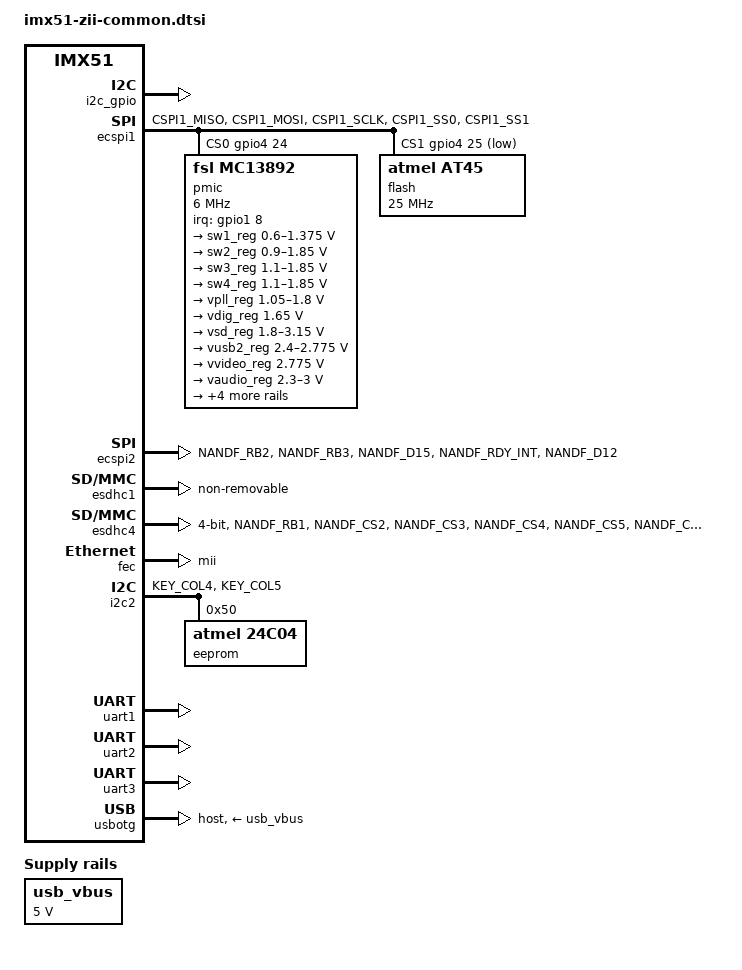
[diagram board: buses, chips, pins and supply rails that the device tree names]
// SPDX-License-Identifier: (GPL-2.0 OR MIT)
// Copyright (C) 2018 Zodiac Inflight Innovations

#include "imx51.dtsi"

/ {
	chosen {
		stdout-path = &uart1;
	};

	/* Will be filled by the bootloader */
	memory@90000000 {
		reg = <0x90000000 0>;
	};

	i2c_gpio: i2c-gpio {
		compatible = "i2c-gpio";
		pinctrl-names = "default";
		pinctrl-0 = <&pinctrl_swi2c>;
		i2c-gpio,delay-us = <50>;
		status = "okay";

		#address-cells = <1>;
		#size-cells = <0>;
	};

	usb_vbus: regulator-usb-vbus {
		compatible = "regulator-fixed";
		regulator-name = "usb_vbus";
		regulator-min-microvolt = <5000000>;
		regulator-max-microvolt = <5000000>;
	};
};

&cpu {
	cpu-supply = <&sw1_reg>;
};

&ecspi1 {
	pinctrl-names = "default";
	pinctrl-0 = <&pinctrl_ecspi1>;
	cs-gpios = <&gpio4 24 GPIO_ACTIVE_HIGH>,
		   <&gpio4 25 GPIO_ACTIVE_LOW>;
	status = "okay";

	pmic@0 {
		compatible = "fsl,mc13892";
		pinctrl-names = "default";
		pinctrl-0 = <&pinctrl_pmic>;
		spi-max-frequency = <6000000>;
		spi-cs-high;
		reg = <0>;
		interrupt-parent = <&gpio1>;
		interrupts = <8 IRQ_TYPE_LEVEL_HIGH>;
		fsl,mc13xxx-uses-adc;

		regulators {
			sw1_reg: sw1 {
				regulator-min-microvolt = <600000>;
				regulator-max-microvolt = <1375000>;
				regulator-boot-on;
				regulator-always-on;
			};

			sw2_reg: sw2 {
				regulator-min-microvolt = <900000>;
				regulator-max-microvolt = <1850000>;
				regulator-boot-on;
				regulator-always-on;
			};

			sw3_reg: sw3 {
				regulator-min-microvolt = <1100000>;
				regulator-max-microvolt = <1850000>;
				regulator-boot-on;
				regulator-always-on;
			};

			sw4_reg: sw4 {
				regulator-min-microvolt = <1100000>;
				regulator-max-microvolt = <1850000>;
				regulator-boot-on;
				regulator-always-on;
			};

			vpll_reg: vpll {
				regulator-min-microvolt = <1050000>;
				regulator-max-microvolt = <1800000>;
				regulator-boot-on;
				regulator-always-on;
			};

			vdig_reg: vdig {
				regulator-min-microvolt = <1650000>;
				regulator-max-microvolt = <1650000>;
				regulator-boot-on;
			};

			vsd_reg: vsd {
				regulator-min-microvolt = <1800000>;
				regulator-max-microvolt = <3150000>;
			};

			vusb_reg: vusb {
				regulator-always-on;
			};

			vusb2_reg: vusb2 {
				regulator-min-microvolt = <2400000>;
				regulator-max-microvolt = <2775000>;
				regulator-boot-on;
				regulator-always-on;
			};

			vvideo_reg: vvideo {
				regulator-min-microvolt = <2775000>;
				regulator-max-microvolt = <2775000>;
			};

			vaudio_reg: vaudio {
				regulator-min-microvolt = <2300000>;
				regulator-max-microvolt = <3000000>;
			};

			vcam_reg: vcam {
				regulator-min-microvolt = <2500000>;
				regulator-max-microvolt = <3000000>;
			};

			vgen1_reg: vgen1 {
				regulator-min-microvolt = <1200000>;
				regulator-max-microvolt = <1200000>;
			};

			vgen2_reg: vgen2 {
				regulator-min-microvolt = <1200000>;
				regulator-max-microvolt = <3150000>;
				regulator-always-on;
			};

			vgen3_reg: vgen3 {
				regulator-min-microvolt = <1800000>;
				regulator-max-microvolt = <2900000>;
				regulator-always-on;
			};
		};

		leds {
			#address-cells = <1>;
			#size-cells = <0>;
			led-control = <0x0 0x0 0x3f83f8 0x0>;

			sysled3: led3@3 {
				reg = <3>;
				label = "system:red:power";
				linux,default-trigger = "default-on";
			};

			sysled4: led4@4 {
				reg = <4>;
				label = "system:green:act";
				linux,default-trigger = "heartbeat";
			};
		};
	};

	flash@1 {
		#address-cells = <1>;
		#size-cells = <1>;
		compatible = "atmel,at45", "atmel,dataflash";
		spi-max-frequency = <25000000>;
		reg = <1>;
	};
};

&ecspi2 {
	pinctrl-names = "default";
	pinctrl-0 = <&pinctrl_ecspi2>;
	cs-gpios = <&gpio3 24 GPIO_ACTIVE_LOW>,
		   <&gpio3 28 GPIO_ACTIVE_LOW>;
	status = "okay";
};

&esdhc1 {
	non-removable;
	no-1-8-v;
	no-sdio;
	no-sd;
	status = "okay";
};

&esdhc4 {
	pinctrl-names = "default";
	pinctrl-0 = <&pinctrl_esdhc4>;
	bus-width = <4>;
	no-1-8-v;
	no-sdio;
	cd-gpios = <&gpio4 8 GPIO_ACTIVE_LOW>;
	status = "okay";
};

&fec {
	pinctrl-names = "default";
	pinctrl-0 = <&pinctrl_fec>;
	phy-mode = "mii";
	status = "okay";
};

&i2c2 {
	pinctrl-names = "default";
	pinctrl-0 = <&pinctrl_i2c2>;
	status = "okay";

	eeprom@50 {
		compatible = "atmel,24c04";
		pagesize = <16>;
		reg = <0x50>;
	};
};

&uart1 {
	pinctrl-names = "default";
	pinctrl-0 = <&pinctrl_uart1>;
	status = "okay";
};

&uart2 {
	pinctrl-names = "default";
	pinctrl-0 = <&pinctrl_uart2>;
	status = "okay";
};

&uart3 {
	pinctrl-names = "default";
	pinctrl-0 = <&pinctrl_uart3>;
	status = "okay";
};

&usbotg {
	dr_mode = "host";
	disable-over-current;
	phy_type = "utmi_wide";
	vbus-supply = <&usb_vbus>;
	status = "okay";
};

&usbphy0 {
	vcc-supply = <&vusb2_reg>;
};

&iomuxc {
	pinctrl_ecspi1: ecspi1grp {
		fsl,pins = <
			MX51_PAD_CSPI1_MISO__ECSPI1_MISO	0x185
			MX51_PAD_CSPI1_MOSI__ECSPI1_MOSI	0x185
			MX51_PAD_CSPI1_SCLK__ECSPI1_SCLK	0x185
			MX51_PAD_CSPI1_SS0__GPIO4_24		0x85
			MX51_PAD_CSPI1_SS1__GPIO4_25		0x85
		>;
	};

	pinctrl_ecspi2: ecspi2grp {
		fsl,pins = <
			MX51_PAD_NANDF_RB2__ECSPI2_SCLK		0x185
			MX51_PAD_NANDF_RB3__ECSPI2_MISO		0x185
			MX51_PAD_NANDF_D15__ECSPI2_MOSI		0x185
			MX51_PAD_NANDF_RDY_INT__GPIO3_24	0x85
			MX51_PAD_NANDF_D12__GPIO3_28		0x85
		>;
	};

	pinctrl_esdhc1_4bit: esdhc1grp_4bit {
		fsl,pins = <
			MX51_PAD_SD1_CMD__SD1_CMD		0x400020d5
			MX51_PAD_SD1_CLK__SD1_CLK		0x20d5
			MX51_PAD_SD1_DATA0__SD1_DATA0		0x20d5
			MX51_PAD_SD1_DATA1__SD1_DATA1		0x20d5
			MX51_PAD_SD1_DATA2__SD1_DATA2		0x20d5
			MX51_PAD_SD1_DATA3__SD1_DATA3		0x20d5
		>;
	};

	pinctrl_esdhc1_8bit: esdhc1grp_8bit {
		fsl,pins = <
			MX51_PAD_SD2_DATA0__SD1_DAT4		0x20d5
			MX51_PAD_SD2_DATA1__SD1_DAT5		0x20d5
			MX51_PAD_SD2_DATA2__SD1_DAT6		0x20d5
			MX51_PAD_SD2_DATA3__SD1_DAT7		0x20d5
		>;
	};

	pinctrl_esdhc4: esdhc4grp {
		fsl,pins = <
			MX51_PAD_NANDF_RB1__SD4_CMD		0x400020d5
			MX51_PAD_NANDF_CS2__SD4_CLK		0x20d5
			MX51_PAD_NANDF_CS3__SD4_DAT0		0x20d5
			MX51_PAD_NANDF_CS4__SD4_DAT1		0x20d5
			MX51_PAD_NANDF_CS5__SD4_DAT2		0x20d5
			MX51_PAD_NANDF_CS6__SD4_DAT3		0x20d5
			MX51_PAD_NANDF_D0__GPIO4_8		0x100
		>;
	};

	pinctrl_i2c2: i2c2grp {
		fsl,pins = <
			MX51_PAD_KEY_COL4__I2C2_SCL		0x400001ed
			MX51_PAD_KEY_COL5__I2C2_SDA		0x400001ed
		>;
	};

	pinctrl_pmic: pmicgrp {
		fsl,pins = <
			MX51_PAD_GPIO1_4__GPIO1_4		0x85
			MX51_PAD_GPIO1_8__GPIO1_8		0xe5
		>;
	};
};
